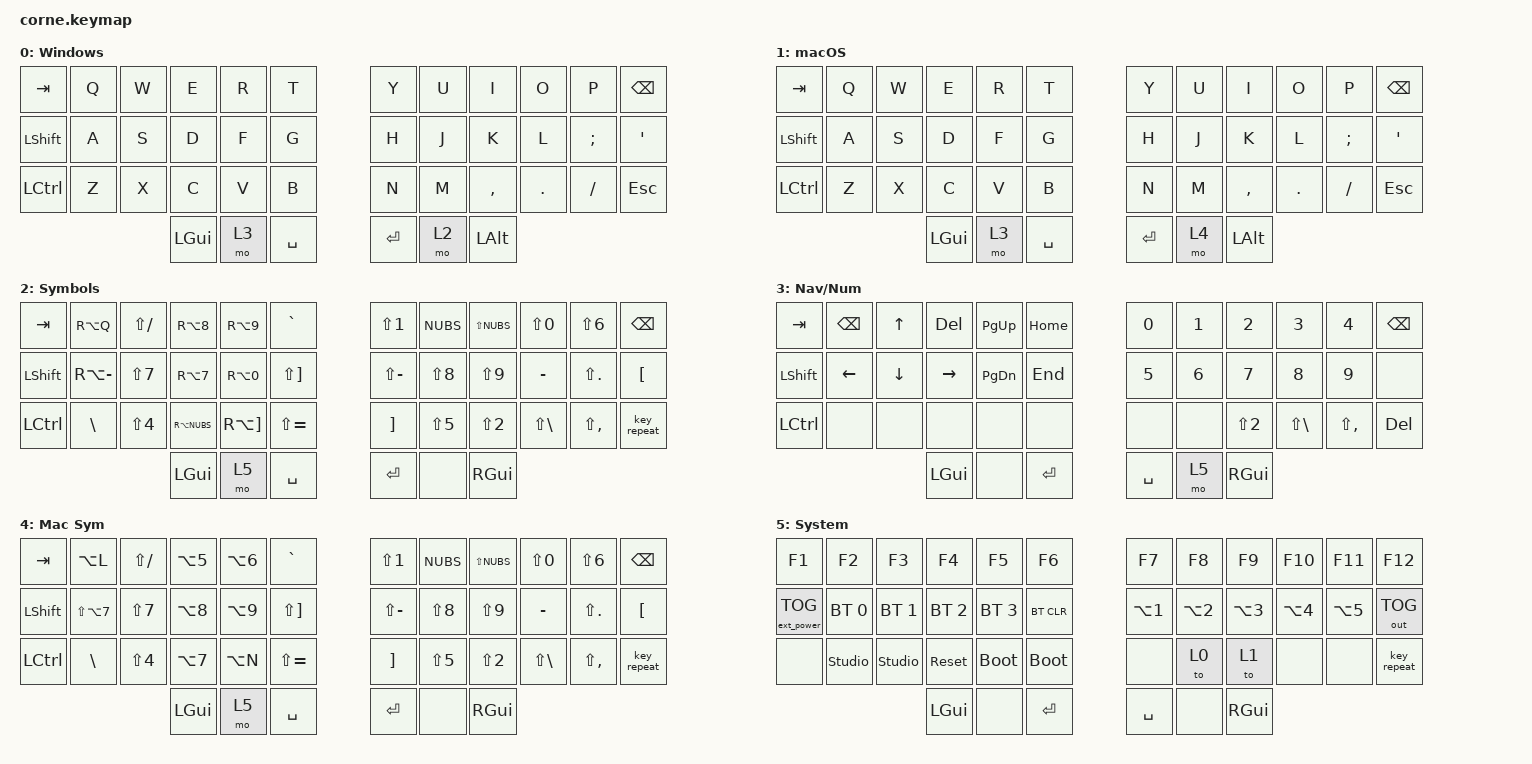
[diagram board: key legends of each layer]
/*
 * Copyright (c) 2020 The ZMK Contributors
 *
 * SPDX-License-Identifier: MIT
 */

#include <behaviors.dtsi>
#include <dt-bindings/zmk/keys.h>
#include <dt-bindings/zmk/bt.h>
#include <dt-bindings/zmk/outputs.h>
#include <dt-bindings/zmk/ext_power.h>

// ============================================================
// German QWERTZ mappings (Windows default + macOS switchable)
// ============================================================

// Base German letters & umlauts (sent via standard HID keycodes interpreted by German OS)
#define DE_Y    Z            // Physical Y position sends HID Z -> types 'y' on German OS
#define DE_Z    Y            // Physical Z position sends HID Y -> types 'z' on German OS
#define DE_ODIA SEMI         // 'ö' / 'Ö'
#define DE_ADIA SQT          // 'ä' / 'Ä'
#define DE_UDIA LBKT         // 'ü' / 'Ü'
#define DE_SS   MINUS        // 'ß' / '?'
#define DE_MINS FSLH         // '-' / '_'

// Shared symbols on German layout (identical on Windows and macOS)
#define DE_EXLM LS(N1)       // '!'
#define DE_DQUO LS(N2)       // '"'
#define DE_DLR  LS(N4)       // '$'
#define DE_PERC LS(N5)       // '%'
#define DE_AMPR LS(N6)       // '&'
#define DE_SLSH LS(N7)       // '/'
#define DE_LPRN LS(N8)       // '('
#define DE_RPRN LS(N9)       // ')'
#define DE_EQL  LS(N0)       // '='
#define DE_QUES LS(MINUS)    // '?'
#define DE_GRV  LS(EQUAL)    // '`'
#define DE_UNDS LS(FSLH)     // '_'
#define DE_COLN LS(DOT)      // ':'
#define DE_SCLN LS(COMMA)    // ';'
#define DE_QUOT LS(BSLH)     // '''
#define DE_ASTR LS(RBKT)     // '*'
#define DE_LABK NUBS         // '<'
#define DE_RABK LS(NUBS)     // '>'
#define DE_PLUS RBKT         // '+'
#define DE_HASH BSLH         // '#'
#define DE_CIRC GRAVE        // '^'

// Windows German symbols (AltGr / RA) - Default
#define WIN_AT   RA(Q)        // '@' (AltGr + Q on Windows)
#define WIN_BSLS RA(MINUS)    // '\' (AltGr + ß on Windows)
#define WIN_LBRC RA(N8)       // '[' (AltGr + 8 on Windows)
#define WIN_RBRC RA(N9)       // ']' (AltGr + 9 on Windows)
#define WIN_LCBR RA(N7)       // '{' (AltGr + 7 on Windows)
#define WIN_RCBR RA(N0)       // '}' (AltGr + 0 on Windows)
#define WIN_PIPE RA(NUBS)     // '|' (AltGr + < on Windows)
#define WIN_TILD RA(RBKT)     // '~' (AltGr + + on Windows)

// macOS German symbols (Option / LA)
#define MAC_AT   LA(L)        // '@' (Option + L on macOS)
#define MAC_BSLS LS(LA(N7))   // '\' (Shift + Option + 7 on macOS)
#define MAC_LBRC LA(N5)       // '[' (Option + 5 on macOS)
#define MAC_RBRC LA(N6)       // ']' (Option + 6 on macOS)
#define MAC_LCBR LA(N8)       // '{' (Option + 8 on macOS)
#define MAC_RCBR LA(N9)       // '}' (Option + 9 on macOS)
#define MAC_PIPE LA(N7)       // '|' (Option + 7 on macOS)
#define MAC_TILD LA(N)        // '~' (Option + N on macOS)

/ {
    keymap {
        compatible = "zmk,keymap";

        base_layer {
            display-name = "Windows";
// -----------------------------------------------------------------------------------------
// |  TAB |  Q  |  W  |  E  |  R  |  T  |   |  Z  |  U   |  I  |  O  |  P  | BKSP |
// | SHFT |  A  |  S  |  D  |  F  |  G  |   |  H  |  J   |  K  |  L  |  Ö  |  Ä   |
// | CTRL |  Y  |  X  |  C  |  V  |  B  |   |  N  |  M   |  ,  |  .  |  -  | ESC  |
//                    | GUI | L(3)| SPC |   | ENT | L(2)| ALT |
            bindings = <
   &kp TAB   &kp Q    &kp W    &kp E    &kp R    &kp T      &kp DE_Z  &kp U     &kp I      &kp O    &kp P        &kp BSPC
   &kp LSHFT &kp A    &kp S    &kp D    &kp F    &kp G      &kp H     &kp J     &kp K      &kp L    &kp DE_ODIA  &kp DE_ADIA
   &kp LCTRL &kp DE_Y &kp X    &kp C    &kp V    &kp B      &kp N     &kp M     &kp COMMA  &kp DOT  &kp DE_MINS  &kp ESC
                      &kp LGUI &mo 3    &kp SPACE           &kp RET   &mo 2     &kp LALT
            >;
        };

        mac_base_layer {
            display-name = "macOS";
// -----------------------------------------------------------------------------------------
// |  TAB |  Q  |  W  |  E  |  R  |  T  |   |  Z  |  U   |  I  |  O  |  P  | BKSP |
// | SHFT |  A  |  S  |  D  |  F  |  G  |   |  H  |  J   |  K  |  L  |  Ö  |  Ä   |
// | CTRL |  Y  |  X  |  C  |  V  |  B  |   |  N  |  M   |  ,  |  .  |  -  | ESC  |
//                    | GUI | L(3)| SPC |   | ENT | L(4)| ALT |
            bindings = <
   &kp TAB   &kp Q    &kp W    &kp E    &kp R    &kp T      &kp DE_Z  &kp U     &kp I      &kp O    &kp P        &kp BSPC
   &kp LSHFT &kp A    &kp S    &kp D    &kp F    &kp G      &kp H     &kp J     &kp K      &kp L    &kp DE_ODIA  &kp DE_ADIA
   &kp LCTRL &kp DE_Y &kp X    &kp C    &kp V    &kp B      &kp N     &kp M     &kp COMMA  &kp DOT  &kp DE_MINS  &kp ESC
                      &kp LGUI &mo 3    &kp SPACE           &kp RET   &mo 4     &kp LALT
            >;
        };

        symbol_layer {
            display-name = "Symbols";
// -----------------------------------------------------------------------------------------
// |  TAB |  @  |  _  |  [  |  ]  |  ^  |   |  !  |  <   |  >  |  =  |  &  | BKSP |
// | SHFT |  \  |  /  |  {  |  }  |  *  |   |  ?  |  (   |  )  |  ß  |  :  |  Ü   |
// | CTRL |  #  |  $  |  |  |  ~  |  `  |   |  +  |  %   |  "  |  '  |  ;  | REP  |
//                    | GUI | L(5)| SPC |   | ENT |      | RGUI|
            bindings = <
   &kp TAB   &kp WIN_AT   &kp DE_UNDS &kp WIN_LBRC &kp WIN_RBRC &kp DE_CIRC    &kp DE_EXLM &kp DE_LABK &kp DE_RABK &kp DE_EQL  &kp DE_AMPR &kp BSPC
   &kp LSHFT &kp WIN_BSLS &kp DE_SLSH &kp WIN_LCBR &kp WIN_RCBR &kp DE_ASTR    &kp DE_QUES &kp DE_LPRN &kp DE_RPRN &kp DE_SS   &kp DE_COLN &kp DE_UDIA
   &kp LCTRL &kp DE_HASH  &kp DE_DLR  &kp WIN_PIPE &kp WIN_TILD &kp DE_GRV     &kp DE_PLUS &kp DE_PERC &kp DE_DQUO &kp DE_QUOT &kp DE_SCLN &key_repeat
                          &kp LGUI    &mo 5        &kp SPACE                   &kp RET     &none       &kp RGUI
            >;
        };

        nav_num_layer {
            display-name = "Nav/Num";
// -----------------------------------------------------------------------------------------
// |  TAB | BKSP|  UP | DEL | PGUP| HOME|   |  0  |  1   |  2  |  3  |  4  | BKSP |
// | SHFT | LEFT| DOWN| RGHT| PGDN| END |   |  5  |  6   |  7  |  8  |  9  |      |
// | CTRL |     |     |     |     |     |   |     |      |  "  |  '  |  ;  | DEL  |
//                    | GUI |     | ENT |   | SPC | L(5) | RGUI|
            bindings = <
   &kp TAB   &kp BSPC &kp UP   &kp DEL   &kp PG_UP &kp HOME    &kp N0    &kp N1    &kp N2      &kp N3      &kp N4      &kp BSPC
   &kp LSHFT &kp LEFT &kp DOWN &kp RIGHT &kp PG_DN &kp END     &kp N5    &kp N6    &kp N7      &kp N8      &kp N9      &none
   &kp LCTRL &none    &none    &none     &none     &none       &none     &none     &kp DE_DQUO &kp DE_QUOT &kp DE_SCLN &kp DEL
                      &kp LGUI &none     &kp RET               &kp SPACE &mo 5     &kp RGUI
            >;
        };

        mac_symbol_layer {
            display-name = "Mac Sym";
// -----------------------------------------------------------------------------------------
// |  TAB |  @  |  _  |  [  |  ]  |  ^  |   |  !  |  <   |  >  |  =  |  &  | BKSP |
// | SHFT |  \  |  /  |  {  |  }  |  *  |   |  ?  |  (   |  )  |  ß  |  :  |  Ü   |
// | CTRL |  #  |  $  |  |  |  ~  |  `  |   |  +  |  %   |  "  |  '  |  ;  | REP  |
//                    | GUI | L(5)| SPC |   | ENT |      | RGUI|
            bindings = <
   &kp TAB   &kp MAC_AT   &kp DE_UNDS &kp MAC_LBRC &kp MAC_RBRC &kp DE_CIRC    &kp DE_EXLM &kp DE_LABK &kp DE_RABK &kp DE_EQL  &kp DE_AMPR &kp BSPC
   &kp LSHFT &kp MAC_BSLS &kp DE_SLSH &kp MAC_LCBR &kp MAC_RCBR &kp DE_ASTR    &kp DE_QUES &kp DE_LPRN &kp DE_RPRN &kp DE_SS   &kp DE_COLN &kp DE_UDIA
   &kp LCTRL &kp DE_HASH  &kp DE_DLR  &kp MAC_PIPE &kp MAC_TILD &kp DE_GRV     &kp DE_PLUS &kp DE_PERC &kp DE_DQUO &kp DE_QUOT &kp DE_SCLN &key_repeat
                          &kp LGUI    &mo 5        &kp SPACE                   &kp RET     &none       &kp RGUI
            >;
        };

        system_layer {
            display-name = "System";
// -----------------------------------------------------------------------------------------
// |  F1  |  F2 |  F3 |  F4 |  F5 |  F6 |   |  F7 |  F8  |  F9 | F10 | F11 | F12  |
// | EP_TOG| BT1| BT2 | BT3 | BT4 |BTCLR|   | Alt1| Alt2 | Alt3| Alt4| Alt5|OUT_TOG|
// |      |STUDO|STUDO|RESET|BOOTL|BOOTL|   |     | WIN  | MAC |     |     | REP  |
//                    | GUI |     | ENT |   | SPC |      | RGUI|
            bindings = <
   &kp F1              &kp F2         &kp F3         &kp F4        &kp F5         &kp F6          &kp F7        &kp F8        &kp F9        &kp F10       &kp F11     &kp F12
   &ext_power EP_TOG   &bt BT_SEL 0   &bt BT_SEL 1   &bt BT_SEL 2  &bt BT_SEL 3   &bt BT_CLR      &kp LA(N1)    &kp LA(N2)    &kp LA(N3)    &kp LA(N4)    &kp LA(N5)  &out OUT_TOG
   &none               &studio_unlock &studio_unlock &sys_reset    &bootloader    &bootloader     &none         &to 0         &to 1         &none         &none       &key_repeat
                                      &kp LGUI       &none         &kp RET                        &kp SPACE     &none         &kp RGUI
            >;
        };
    };
};
